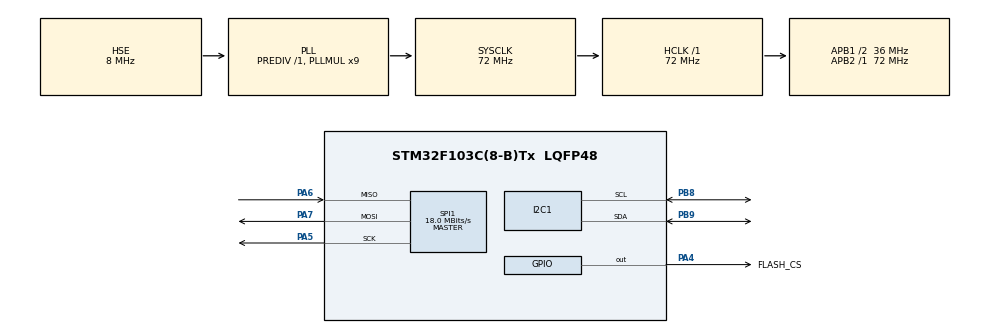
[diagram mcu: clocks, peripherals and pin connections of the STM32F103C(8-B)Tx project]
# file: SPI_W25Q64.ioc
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Dma.I2C1_TX.0.Direction=DMA_MEMORY_TO_PERIPH
Dma.I2C1_TX.0.Instance=DMA1_Channel6
Dma.I2C1_TX.0.MemDataAlignment=DMA_MDATAALIGN_BYTE
Dma.I2C1_TX.0.MemInc=DMA_MINC_ENABLE
Dma.I2C1_TX.0.Mode=DMA_NORMAL
Dma.I2C1_TX.0.PeriphDataAlignment=DMA_PDATAALIGN_BYTE
Dma.I2C1_TX.0.PeriphInc=DMA_PINC_DISABLE
Dma.I2C1_TX.0.Priority=DMA_PRIORITY_LOW
Dma.Request0=I2C1_TX
I2C1.I2C_Mode=I2C_Fast
Mcu.Family=STM32F1
Mcu.Name=STM32F103C(8-B)Tx
Mcu.Package=LQFP48
NVIC.DMA1_Channel6_IRQn=true\:0\:0\:false\:false\:true\:false\:true\:true
NVIC.I2C1_ER_IRQn=true\:0\:0\:false\:false\:true\:true\:true\:true
NVIC.I2C1_EV_IRQn=true\:0\:0\:false\:false\:true\:true\:true\:true
NVIC.PriorityGroup=NVIC_PRIORITYGROUP_4
PA13.Mode=Serial_Wire
PA13.Signal=SYS_JTMS-SWDIO
PA14.Mode=Serial_Wire
PA14.Signal=SYS_JTCK-SWCLK
PA4.GPIO_Label=FLASH_CS
PA4.PinState=GPIO_PIN_SET
PA4.Signal=GPIO_Output
PA5.Mode=Full_Duplex_Master
PA5.Signal=SPI1_SCK
PA6.Mode=Full_Duplex_Master
PA6.Signal=SPI1_MISO
PA7.Mode=Full_Duplex_Master
PA7.Signal=SPI1_MOSI
PB8.Mode=I2C
PB8.Signal=I2C1_SCL
PB9.Mode=I2C
PB9.Signal=I2C1_SDA
PD0-OSC_IN.Mode=HSE-External-Oscillator
PD0-OSC_IN.Signal=RCC_OSC_IN
PD1-OSC_OUT.Mode=HSE-External-Oscillator
PD1-OSC_OUT.Signal=RCC_OSC_OUT
ProjectManager.HeapSize=0x200
ProjectManager.StackSize=0x400
ProjectManager.TargetToolchain=CMake
RCC.AHBFreq_Value=72000000
RCC.APB1CLKDivider=RCC_HCLK_DIV2
RCC.APB1Freq_Value=36000000
RCC.APB1TimFreq_Value=72000000
RCC.APB2Freq_Value=72000000
RCC.APB2TimFreq_Value=72000000
RCC.HCLKFreq_Value=72000000
RCC.PLLMUL=RCC_PLL_MUL9
RCC.PLLSourceVirtual=RCC_PLLSOURCE_HSE
RCC.SYSCLKFreq_VALUE=72000000
RCC.SYSCLKSource=RCC_SYSCLKSOURCE_PLLCLK
RCC.USBFreq_Value=72000000
SPI1.BaudRatePrescaler=SPI_BAUDRATEPRESCALER_4
SPI1.CalculateBaudRate=18.0 MBits/s
SPI1.Direction=SPI_DIRECTION_2LINES
SPI1.Mode=SPI_MODE_MASTER
SPI1.VirtualType=VM_MASTER
board=custom

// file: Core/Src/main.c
/* USER CODE BEGIN Header */
/**
  ******************************************************************************
  * @file           : main.c
  * @brief          : Main program body
  ******************************************************************************
  * @attention
  *
  * Copyright (c) 2026 STMicroelectronics.
  * All rights reserved.
  *
  * This software is licensed under terms that can be found in the LICENSE file
  * in the root directory of this software component.
  * If no LICENSE file comes with this software, it is provided AS-IS.
  *
  ******************************************************************************
  */
/* USER CODE END Header */
#include "main.h"
#include "dma.h"
#include "i2c.h"
#include "spi.h"
#include "gpio.h"

/* USER CODE BEGIN Includes */
#include "OLED.h"
#include "W25Q64.h"
/* USER CODE END Includes */

/* USER CODE BEGIN PV */
uint8_t  MID;                                   // 厂商 ID
uint16_t DID;                                   // 设备 ID
uint8_t  ArrayWrite[] = {0x01, 0x02, 0x03, 0x04}; // 要写入的数据
uint8_t  ArrayRead[4];                          // 读回的数据
/* USER CODE END PV */

void SystemClock_Config(void);

int main(void)
{

  /* MCU Configuration--------------------------------------------------------*/

  /* Reset of all peripherals, Initializes the Flash interface and the Systick. */
  HAL_Init();

  /* Configure the system clock */
  SystemClock_Config();

  /* Initialize all configured peripherals */
  MX_GPIO_Init();
  MX_DMA_Init();
  MX_SPI1_Init();
  MX_I2C1_Init();
  /* USER CODE BEGIN 2 */
  OLED_Init();
  W25Q64_Init();

  /* 固定文字（8x16 字体：每字符宽 8 像素，每行高 16 像素） */
  OLED_ShowString(0,  0, "MID:   DID:", OLED_8X16);
  OLED_ShowString(0, 16, "W:", OLED_8X16);
  OLED_ShowString(0, 32, "R:", OLED_8X16);

  /* 1. 读 ID */
  W25Q64_ReadID(&MID, &DID);
  OLED_ShowHexNum(32, 0, MID, 2, OLED_8X16);   // 应显示 EF
  OLED_ShowHexNum(88, 0, DID, 4, OLED_8X16);   // 应显示 4017

  /* 2~4. 擦除 → 写入 → 读回 */
  //W25Q64_SectorErase(0x000000);                // 先擦除（铁律③）
  //W25Q64_PageProgram(0x000000, ArrayWrite, 4); // 写入 4 字节
  W25Q64_ReadData(0x000000, ArrayRead, 4);     // 读回 4 字节

  /* 5. 显示 */
  for (uint8_t i = 0; i < 4; i++)
  {
    OLED_ShowHexNum(24 + i * 24, 16, ArrayWrite[i], 2, OLED_8X16);
    OLED_ShowHexNum(24 + i * 24, 32, ArrayRead[i],  2, OLED_8X16);
  }

  OLED_Update();   // 本 OLED 驱动是显存缓冲式，Show 之后必须 Update 才会真正刷到屏上
  /* USER CODE END 2 */
  /* Infinite loop */
  while (1)
  {

  }
}

void SystemClock_Config(void)
{
  RCC_OscInitTypeDef RCC_OscInitStruct = {0};
  RCC_ClkInitTypeDef RCC_ClkInitStruct = {0};

  /** Initializes the RCC Oscillators according to the specified parameters
  * in the RCC_OscInitTypeDef structure.
  */
  RCC_OscInitStruct.OscillatorType = RCC_OSCILLATORTYPE_HSE;
  RCC_OscInitStruct.HSEState = RCC_HSE_ON;
  RCC_OscInitStruct.HSEPredivValue = RCC_HSE_PREDIV_DIV1;
  RCC_OscInitStruct.HSIState = RCC_HSI_ON;
  RCC_OscInitStruct.PLL.PLLState = RCC_PLL_ON;
  RCC_OscInitStruct.PLL.PLLSource = RCC_PLLSOURCE_HSE;
  RCC_OscInitStruct.PLL.PLLMUL = RCC_PLL_MUL9;
  if (HAL_RCC_OscConfig(&RCC_OscInitStruct) != HAL_OK)
  {
    Error_Handler();
  }

  /** Initializes the CPU, AHB and APB buses clocks
  */
  RCC_ClkInitStruct.ClockType = RCC_CLOCKTYPE_HCLK|RCC_CLOCKTYPE_SYSCLK
                              |RCC_CLOCKTYPE_PCLK1|RCC_CLOCKTYPE_PCLK2;
  RCC_ClkInitStruct.SYSCLKSource = RCC_SYSCLKSOURCE_PLLCLK;
  RCC_ClkInitStruct.AHBCLKDivider = RCC_SYSCLK_DIV1;
  RCC_ClkInitStruct.APB1CLKDivider = RCC_HCLK_DIV2;
  RCC_ClkInitStruct.APB2CLKDivider = RCC_HCLK_DIV1;

  if (HAL_RCC_ClockConfig(&RCC_ClkInitStruct, FLASH_LATENCY_2) != HAL_OK)
  {
    Error_Handler();
  }
}

void Error_Handler(void)
{
  __disable_irq();
  while (1)
  {
  }
}
